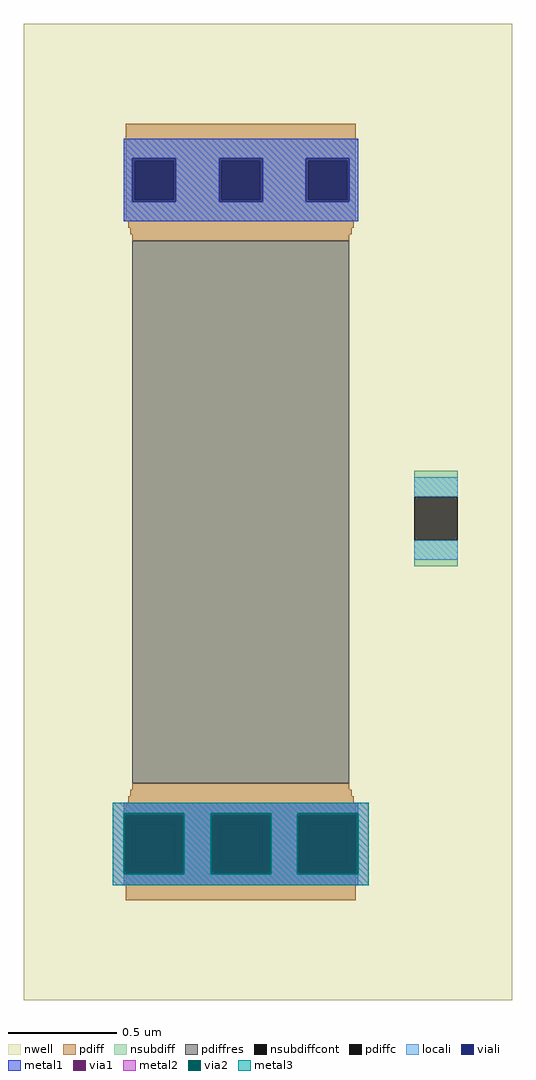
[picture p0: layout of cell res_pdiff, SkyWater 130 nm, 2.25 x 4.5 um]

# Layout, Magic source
magic
tech sky130A
<< nwell >>
rect 0 0 225 450
<< pdiff >>
rect 47 387 153 404
rect 47 369 51 387
rect 69 369 91 387
rect 109 369 131 387
rect 149 369 153 387
rect 47 359 153 369
rect 48 356 152 359
rect 49 353 151 356
rect 50 350 150 353
rect 50 97 150 100
rect 49 94 151 97
rect 48 91 152 94
rect 47 81 153 91
rect 47 63 51 81
rect 69 63 91 81
rect 109 63 131 81
rect 149 63 153 81
rect 47 46 153 63
<< pdiffc >>
rect 51 369 69 387
rect 91 369 109 387
rect 131 369 149 387
rect 51 63 69 81
rect 91 63 109 81
rect 131 63 149 81
<< nsubdiff >>
rect 180 232 200 244
rect 180 200 200 212
<< nsubdiffcont >>
rect 180 212 200 232
<< pdiffres >>
rect 50 100 150 350
<< locali >>
rect 46 388 154 397
rect 46 368 50 388
rect 70 368 90 388
rect 110 368 130 388
rect 150 368 154 388
rect 46 359 154 368
rect 180 232 200 241
rect 180 203 200 212
rect 46 82 154 91
rect 46 62 50 82
rect 70 62 90 82
rect 110 62 130 82
rect 150 62 154 82
rect 46 53 154 62
<< viali >>
rect 50 387 70 388
rect 50 369 51 387
rect 51 369 69 387
rect 69 369 70 387
rect 50 368 70 369
rect 90 387 110 388
rect 90 369 91 387
rect 91 369 109 387
rect 109 369 110 387
rect 90 368 110 369
rect 130 387 150 388
rect 130 369 131 387
rect 131 369 149 387
rect 149 369 150 387
rect 130 368 150 369
rect 50 81 70 82
rect 50 63 51 81
rect 51 63 69 81
rect 69 63 70 81
rect 50 62 70 63
rect 90 81 110 82
rect 90 63 91 81
rect 91 63 109 81
rect 109 63 110 81
rect 90 62 110 63
rect 130 81 150 82
rect 130 63 131 81
rect 131 63 149 81
rect 149 63 150 81
rect 130 62 150 63
<< metal1 >>
rect 46 388 154 397
rect 46 368 50 388
rect 70 368 90 388
rect 110 368 130 388
rect 150 368 154 388
rect 46 359 154 368
rect 46 85 154 91
rect 46 59 47 85
rect 73 59 87 85
rect 113 59 127 85
rect 153 59 154 85
rect 46 53 154 59
<< via1 >>
rect 47 82 73 85
rect 47 62 50 82
rect 50 62 70 82
rect 70 62 73 82
rect 47 59 73 62
rect 87 82 113 85
rect 87 62 90 82
rect 90 62 110 82
rect 110 62 113 82
rect 87 59 113 62
rect 127 82 153 85
rect 127 62 130 82
rect 130 62 150 82
rect 150 62 153 82
rect 127 59 153 62
<< metal2 >>
rect 41 86 159 91
rect 41 58 46 86
rect 74 58 86 86
rect 114 58 126 86
rect 154 58 159 86
rect 41 53 159 58
<< via2 >>
rect 46 85 74 86
rect 46 59 47 85
rect 47 59 73 85
rect 73 59 74 85
rect 46 58 74 59
rect 86 85 114 86
rect 86 59 87 85
rect 87 59 113 85
rect 113 59 114 85
rect 86 58 114 59
rect 126 85 154 86
rect 126 59 127 85
rect 127 59 153 85
rect 153 59 154 85
rect 126 58 154 59
<< metal3 >>
rect 41 86 159 91
rect 41 58 46 86
rect 74 58 86 86
rect 114 58 126 86
rect 154 58 159 86
rect 41 53 159 58
<< end >>
